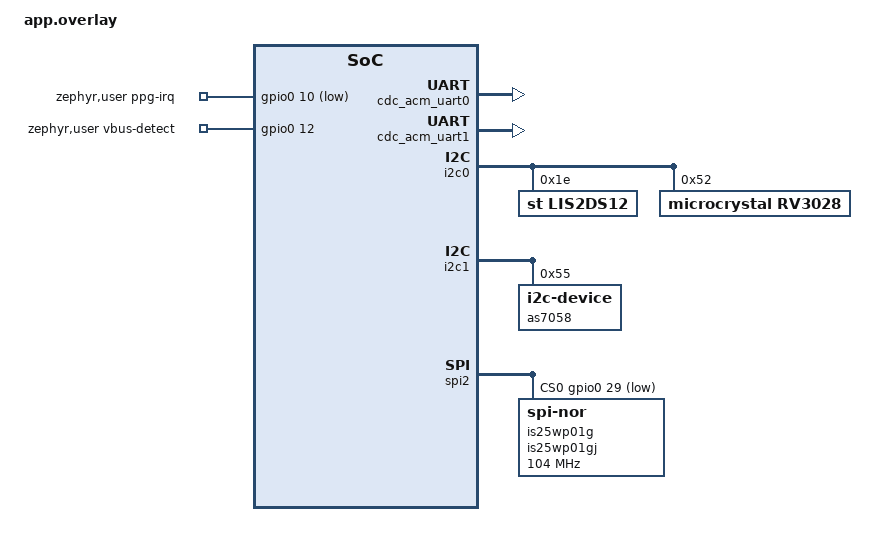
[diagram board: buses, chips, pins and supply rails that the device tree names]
/* Configure CDC ACM */
&zephyr_udc0 {
	cdc_acm_uart0: cdc_acm_uart0 {
		compatible = "zephyr,cdc-acm-uart";
	};
    cdc_acm_uart1: cdc_acm_uart1 {
        compatible = "zephyr,cdc-acm-uart";
    };
};

/* CDC ACM for mcumgr */
/ {
	chosen {
		zephyr,uart-mcumgr = &cdc_acm_uart0;
        zephyr,console = &cdc_acm_uart0;
	};
};

// IMU sensor
&i2c0 {
    lis2ds12: lis2ds12@1e {
        compatible = "st,lis2ds12";
        reg = <0x1e>;
        status = "okay";
        /* Optional: set range and output data rate */
		power-mode = <1>;
        range = <2>;        // 2g
        odr = <5>;          // 100Hz
    };
    rv3028: rv3028@52 {
        compatible = "microcrystal,rv3028";
        reg = <0x52>;
        status = "okay";
        backup-switch-mode = "disabled";
    };
};

&i2c1 {
    as7058: as7058@55 {
        compatible = "i2c-device";
        reg = <0x55>;
        status = "okay";
    };  
};

/ {
    chosen{
        nordic,pm-ext-flash=&is25wp01g;
    };
};

&spi2 {   
    status = "okay";
    cs-gpios = <&gpio0 29 GPIO_ACTIVE_LOW>;  /* your CS pin */

    is25wp01g: is25wp01gj@0 {
        compatible = "jedec,spi-nor";
        label = "is25wp01g";
        reg = <0>;
        spi-max-frequency = <104000000>;    /* 104 MHz max          */
        jedec-id = [9d 70 21];              /* ISSI IS25WP01G       */
        size = <DT_SIZE_M(1024)>;           /* 1 Gbit               */

        // /* 4-byte addressing required for >16MB */
        enter-4byte-addr = <1>;

        // /* Erase sizes */
        // //erase-block-size = <4096>;          /* 4KB minimum erase    */

        // /* Deep power down */
        has-dpd;
        t-enter-dpd = <3000>; //t_DP
        t-exit-dpd  = <5000>; //t_RES1

        status = "okay";
    };
};

/ {
    zephyr,user {
        /* Use a custom property name here */
        ppg-irq-gpios = <&gpio0 10 (GPIO_PULL_UP | GPIO_ACTIVE_LOW)>;
        vbus-detect-gpios = <&gpio0 12 GPIO_ACTIVE_HIGH>; /* VBUSOUT from nPM1304 */
    };
};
